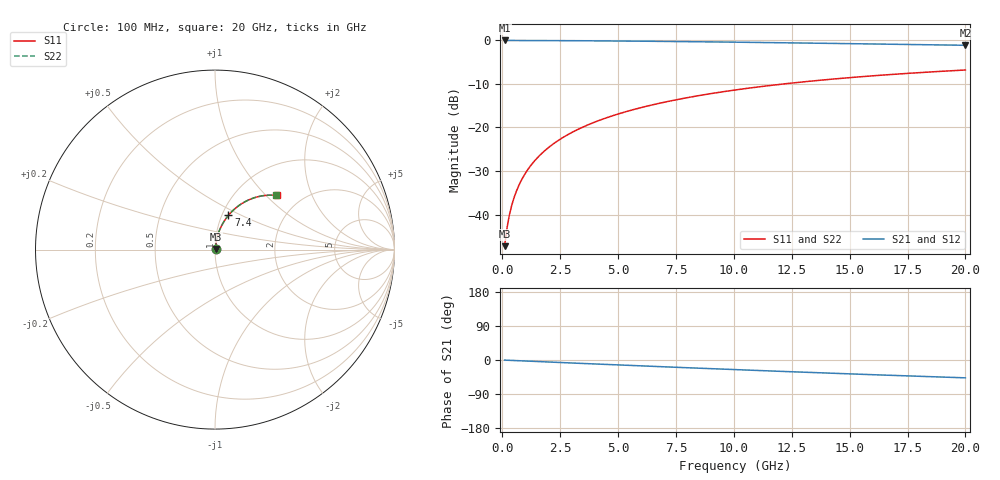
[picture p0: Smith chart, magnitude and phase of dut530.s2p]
! Touchstone file exported from HFSS 2026.1.0
!  File:  C:/ffzhzh/LocalFiles/Ansys_Project_Files/temp_train_BSMRDL_530_1783014725_55676.aedt
!  Generated:  01:53:42 AM Jul  3, 2026
!  Design:  BSMRDL
!  Project:  temp_train_BSMRDL_530_1783014725_55676
! Variables:
!  h_bsmrdl = 5.04um
!  h_ox = 20um
!  h_rdl = 5um
!  h_sub = 80um
!  h_tmrdl = 5um
!  h_tsv = 80um
!  h_via = 3um
!  l_bsmrdl = 687.21um
!  l_sub = 1087.21um
!  l_tmrdl = 200um
!  m_sub = 200um
!  pitch = 47.59um
!  r_tsv = 6um
!  s_tmrdl = 10um
!  w_bsmrdl = 16.58um
!  w_sub = 500um
!  w_tmrdl = 12um
!  x_tsv_center1 = 206um
!  x_tsv_center2 = 909.79um
!  x_tsv_center3 = 1121.79um
!  x_tsv_center4 = 1825.58um
!  x_tsv_center5 = 2037.58um
!  x_tsv_center6 = 2741.37um
# GHz S MA R 50.000000
! Terminal data exported
! Port[1] = BSM_RDL1_1_T1
! Port[2] = BSM_RDL1_1_T2
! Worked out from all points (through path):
!   200 points, 100 MHz to 20 GHz, reference 50 ohm
!   highest |S21| = -0.03 dB at 100 MHz (marker M1); lowest = -1.1 dB at 20 GHz (marker M2)
!   group delay of S21, straight-line fit = 6.55 ps
!   lowest |S11| = -47.2 dB at 100 MHz (marker M3), VSWR 1.01, Z = 50.3 + j0.313 ohm
!   |S11| at or under -10 dB: start of sweep to 12.17 GHz
!   |S22| runs from -47.2 to -6.8 dB; largest |S21 - S12| = 1.6e-14
!   S11 on the Smith chart (normalised r, x): 100 MHz: 1.01, +0.01; 7.4 GHz: 1.07, +0.43; 20 GHz: 1.51, +1.15
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0.1  0.004341 45.8  0.997 -0.3  0.997 -0.3  0.004341 45.8
! Gamma 0 0 0 0
! Port Impedance 50 0 50 0
0.2  0.006926 62.6  0.9968 -0.5  0.9968 -0.5  0.006926 62.6
0.3  0.00972 69.6  0.9967 -0.8  0.9967 -0.8  0.00972 69.6
0.4  0.01256 73.5  0.9966 -1.1  0.9966 -1.1  0.01256 73.5
0.5  0.01543 75.8  0.9965 -1.3  0.9965 -1.3  0.01543 75.8
0.6  0.01831 77.4  0.9964 -1.6  0.9964 -1.6  0.01831 77.4
0.8  0.0241 79.3  0.9961 -2.1  0.9961 -2.1  0.0241 79.3
1.1  0.03282 80.5  0.9957 -2.9  0.9957 -2.9  0.03282 80.5
1.5  0.04446 80.9  0.995 -4.0  0.995 -4.0  0.04446 80.9
1.8  0.05316 80.7  0.9944 -4.8  0.9944 -4.8  0.05316 80.7
2.1  0.06183 80.4  0.9937 -5.6  0.9937 -5.6  0.06183 80.4
2.7  0.07902 79.3  0.992 -7.1  0.992 -7.1  0.07901 79.3
3.5  0.1016 77.6  0.9892 -9.2  0.9892 -9.2  0.1016 77.7
4.2  0.121 76.1  0.9865 -11.0  0.9865 -11.0  0.121 76.1
5  0.1427 74.2  0.9829 -13.0  0.9829 -13.0  0.1427 74.2
6.8  0.1899 70.0  0.9736 -17.5  0.9736 -17.5  0.1899 70.0
7.4  0.2052 68.6  0.9701 -19.0  0.9701 -19.0  0.2052 68.6
8.7  0.2373 65.6  0.9621 -22.1  0.9621 -22.1  0.2372 65.6
10.1  0.2703 62.4  0.9528 -25.5  0.9528 -25.5  0.2703 62.4
13.4  0.3419 55.1  0.9287 -33.1  0.9287 -33.1  0.3419 55.1
16.7  0.404 48.0  0.9031 -40.3  0.9031 -40.3  0.404 48.1
20  0.4567 41.4  0.8776 -47.1  0.8776 -47.1  0.4567 41.5
